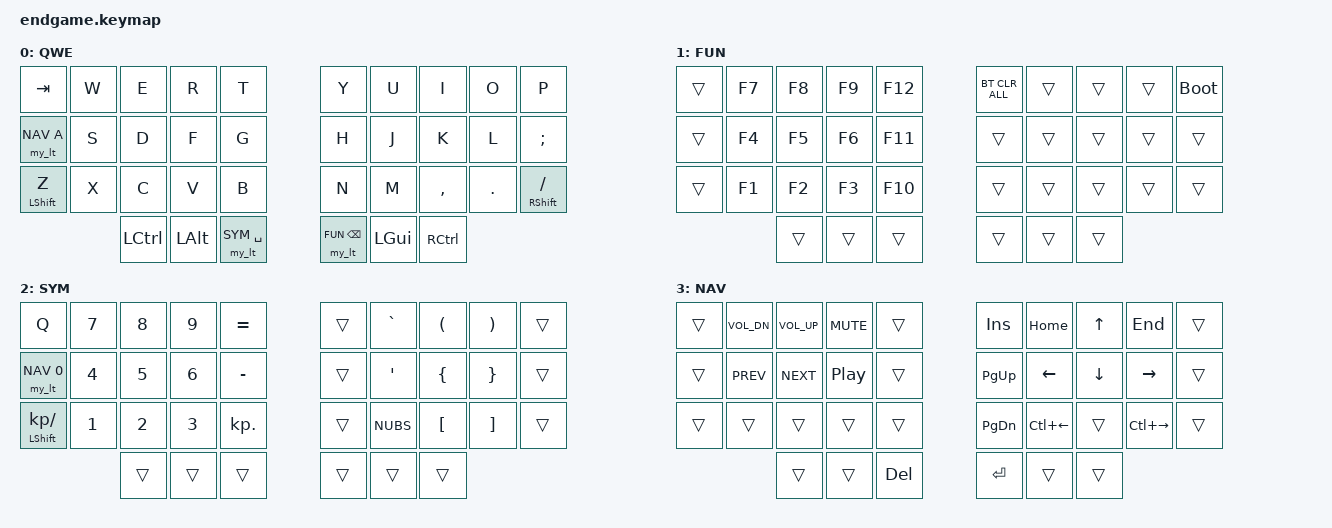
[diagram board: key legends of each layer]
/*
 * Copyright (c) 2021 The ZMK Contributors
 *
 * SPDX-License-Identifier: MIT
 */

#include <behaviors.dtsi>
#include <dt-bindings/zmk/keys.h>
#include <dt-bindings/zmk/bt.h>
#include <dt-bindings/zmk/outputs.h>
#include "base_endgame.h"

&caps_word {
    continue-list = <UNDERSCORE MINUS BSPC DEL>;
};

/ {
    combos {
        compatible = "zmk,combos";
        combo_esc {
            timeout-ms = <27>;
            key-positions = <0 1>;
            bindings = <&kp ESC>;
        };
        combo_enter {
            timeout-ms = <27>;
            key-positions = <17 18>;
            bindings = <&kp ENTER>;
        };
    };
};

/ {
    chosen {
          zmk,battery = &vbatt;
    };

    vbatt: vbatt {
            compatible = "zmk,battery-nrf-vddh";
            label = "VBATT";
    };


    keymap {
        compatible = "zmk,keymap";

        qwerty {
        label = "QWE";

            bindings = <
                &kp TAB      &kp W &kp E &kp R &kp T      &kp Y &kp U &kp I     &kp O      &kp P
                &my_lt NAV A &kp S &kp D &kp F &kp G      &kp H &kp J &kp K     &kp L      &kp SEMI
                &mt LSHIFT Z &kp X &kp C &kp V &kp B      &kp N &kp M &kp COMMA &kp PERIOD &mt RSHIFT SLASH
                &kp LCTRL &kp LALT  &my_lt SYM SPACE      &my_lt FUN BSPC  &kp LGUI            &kp RCTRL
            >;
        };
        function {
            label = "FUN";

            bindings = <
                &trans &kp F7 &kp F8 &kp F9 &kp F12         &bt BT_CLR_ALL &trans &trans &trans &bootloader
                &trans &kp F4 &kp F5 &kp F6 &kp F11         &trans         &trans &trans &trans &trans
                &trans &kp F1 &kp F2 &kp F3 &kp F10         &trans         &trans &trans &trans &trans
                &trans                &trans &trans         &trans &trans                       &trans
            >;
        };
        symbols {
            label = "SYM";

            bindings = <
                &kp Q               &kp N7 &kp N8 &kp N9 &kp EQUAL         &trans &kp GRAVE &kp LPAR &kp RPAR &trans
                &my_lt NAV N0       &kp N4 &kp N5 &kp N6 &kp MINUS         &trans &kp SQT   &kp LBRC &kp RBRC &trans
                &mt LSHIFT KP_SLASH &kp N1 &kp N2 &kp N3 &kp KP_DOT        &trans &kp NUBS  &kp LBKT &kp RBKT &trans
                &trans                            &trans &trans            &trans &trans                      &trans
            >;
        };
        navigation {
            label = "NAV";

            bindings = <
                &trans &kp C_VOL_DN &kp C_VOL_UP &kp C_MUTE &trans          &kp INS   &kp HOME     &kp UP   &kp END       &trans
                &trans &kp C_PREV   &kp C_NEXT   &kp C_PP   &trans          &kp PG_UP &kp LEFT     &kp DOWN &kp RIGHT     &trans
                &trans &trans       &trans       &trans     &trans          &kp PG_DN &kp LC(LEFT) &trans   &kp LC(RIGHT) &trans
                &trans                               &trans &kp DEL         &kp ENTER &trans                              &trans
            >;
        };
    };
};
